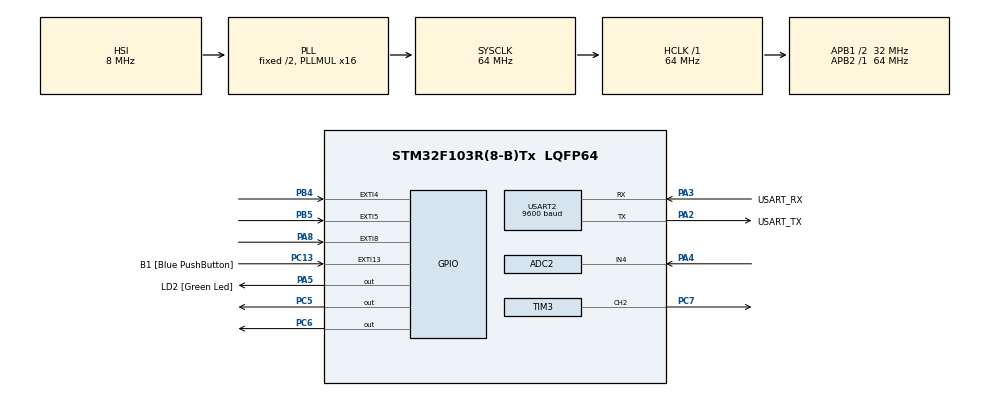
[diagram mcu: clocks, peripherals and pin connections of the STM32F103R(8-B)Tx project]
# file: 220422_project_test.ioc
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ADC2.Channel-0\#ChannelRegularConversion=ADC_CHANNEL_4
ADC2.ContinuousConvMode=ENABLE
ADC2.NbrOfConversionFlag=1
ADC2.Rank-0\#ChannelRegularConversion=1
ADC2.SamplingTime-0\#ChannelRegularConversion=ADC_SAMPLETIME_1CYCLE_5
Mcu.Family=STM32F1
Mcu.Name=STM32F103R(8-B)Tx
Mcu.Package=LQFP64
NVIC.EXTI15_10_IRQn=true\:0\:0\:false\:false\:true\:true\:true\:true
NVIC.EXTI4_IRQn=true\:0\:0\:false\:false\:true\:true\:true\:true
NVIC.EXTI9_5_IRQn=true\:0\:0\:false\:false\:true\:true\:true\:true
NVIC.PriorityGroup=NVIC_PRIORITYGROUP_4
PA13.GPIO_Label=TMS
PA13.Mode=Serial_Wire
PA13.Signal=SYS_JTMS-SWDIO
PA14.GPIO_Label=TCK
PA14.Mode=Serial_Wire
PA14.Signal=SYS_JTCK-SWCLK
PA2.GPIO_Label=USART_TX
PA2.GPIO_Mode=GPIO_MODE_AF_PP
PA2.GPIO_PuPd=GPIO_NOPULL
PA2.GPIO_Speed=GPIO_SPEED_FREQ_LOW
PA2.Mode=Asynchronous
PA2.Signal=USART2_TX
PA3.GPIO_Label=USART_RX
PA3.GPIO_Mode=GPIO_MODE_AF_PP
PA3.GPIO_PuPd=GPIO_NOPULL
PA3.GPIO_Speed=GPIO_SPEED_FREQ_LOW
PA3.Mode=Asynchronous
PA3.Signal=USART2_RX
PA4.Signal=ADCx_IN4
PA5.GPIO_Label=LD2 [Green Led]
PA5.GPIO_ModeDefaultOutputPP=GPIO_MODE_OUTPUT_PP
PA5.GPIO_PuPd=GPIO_NOPULL
PA5.GPIO_Speed=GPIO_SPEED_FREQ_LOW
PA5.Signal=GPIO_Output
PA8.Signal=GPXTI8
PB3.GPIO_Label=SWO
PB3.Signal=SYS_JTDO-TRACESWO
PB4.Signal=GPXTI4
PB5.Signal=GPXTI5
PC13-TAMPER-RTC.GPIO_Label=B1 [Blue PushButton]
PC13-TAMPER-RTC.GPIO_PuPd=GPIO_NOPULL
PC13-TAMPER-RTC.Signal=GPXTI13
PC14-OSC32_IN.Mode=LSE-External-Oscillator
PC14-OSC32_IN.Signal=RCC_OSC32_IN
PC15-OSC32_OUT.Mode=LSE-External-Oscillator
PC15-OSC32_OUT.Signal=RCC_OSC32_OUT
PC5.Signal=GPIO_Output
PC6.Signal=GPIO_Output
PC7.Signal=S_TIM3_CH2
PD0-OSC_IN.Mode=HSE-External-Clock-Source
PD0-OSC_IN.Signal=RCC_OSC_IN
PD1-OSC_OUT.Mode=HSE-External-Clock-Source
PD1-OSC_OUT.Signal=RCC_OSC_OUT
ProjectManager.HeapSize=0x200
ProjectManager.StackSize=0x400
ProjectManager.TargetToolchain=STM32CubeIDE
RCC.ADCPresc=RCC_ADCPCLK2_DIV8
RCC.AHBFreq_Value=64000000
RCC.APB1CLKDivider=RCC_HCLK_DIV2
RCC.APB1Freq_Value=32000000
RCC.APB1TimFreq_Value=64000000
RCC.APB2Freq_Value=64000000
RCC.APB2TimFreq_Value=64000000
RCC.HCLKFreq_Value=64000000
RCC.PLLMUL=RCC_PLL_MUL16
RCC.RTCClockSelection=RCC_RTCCLKSOURCE_LSE
RCC.SYSCLKFreq_VALUE=64000000
RCC.SYSCLKSource=RCC_SYSCLKSOURCE_PLLCLK
RCC.USBFreq_Value=64000000
SH.ADCx_IN4.0=ADC2_IN4,IN4
SH.S_TIM3_CH2.0=TIM3_CH2,PWM Generation2 CH2
TIM3.Channel-PWM\ Generation2\ CH2=TIM_CHANNEL_2
TIM3.Period=20000-1
TIM3.Prescaler=64
USART2.BaudRate=9600
USART2.VirtualMode=VM_ASYNC
board=NUCLEO-F103RB

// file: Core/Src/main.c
/* USER CODE BEGIN Header */
/**
  ******************************************************************************
  * @file           : main.c
  * @brief          : Main program body
  ******************************************************************************
  * @attention
  *
  * Copyright (c) 2022 STMicroelectronics.
  * All rights reserved.
  *
  * This software is licensed under terms that can be found in the LICENSE file
  * in the root directory of this software component.
  * If no LICENSE file comes with this software, it is provided AS-IS.
  *
  ******************************************************************************
  */
/* USER CODE END Header */
#include "main.h"

/* USER CODE BEGIN Includes */
#include "stdio.h"

/* USER CODE END Includes */

 ADC_HandleTypeDef hadc2;

TIM_HandleTypeDef htim3;

UART_HandleTypeDef huart2;

void SystemClock_Config(void);
static void MX_GPIO_Init(void);
static void MX_USART2_UART_Init(void);
static void MX_ADC2_Init(void);
static void MX_TIM3_Init(void);
/* USER CODE BEGIN PFP */
#ifdef __GNUC__
/* With GCC, small printf (option LD Linker->Libraries->Small printf
   set to 'Yes') calls __io_putchar() */
#define PUTCHAR_PROTOTYPE int __io_putchar(int ch)
#else
#define PUTCHAR_PROTOTYPE int fputc(int ch, FILE *f)
#endif /* __GNUC__ */
/* USER CODE BEGIN PFP */

/* USER CODE END PFP */

/* USER CODE BEGIN 0 */
int state[1000] = {0};
int compare = 0;
int idx = 0;
int angle = 0;
/* USER CODE END 0 */

int main(void)
{
  /* USER CODE BEGIN 1 */
	uint32_t adcResult = 0;
  /* USER CODE END 1 */

  /* MCU Configuration--------------------------------------------------------*/

  /* Reset of all peripherals, Initializes the Flash interface and the Systick. */
  HAL_Init();

  /* Configure the system clock */
  SystemClock_Config();

  /* Initialize all configured peripherals */
  MX_GPIO_Init();
  MX_USART2_UART_Init();
  MX_ADC2_Init();
  MX_TIM3_Init();
  /* USER CODE BEGIN 2 */
  HAL_TIM_PWM_Start(&htim3, TIM_CHANNEL_2);
  /* USER CODE END 2 */

  /* Infinite loop */
  /* USER CODE BEGIN WHILE */
  while (1)
  {
	  if(compare ==0){
		  if(state[0] >0){
			  for(int kdx= 0 ; kdx<1000; kdx++){
				  state[kdx] = -1;

			  }
			  idx = 0;
		  }
		  int num1=0;
		  HAL_ADC_Start(&hadc2);
		  HAL_ADC_PollForConversion(&hadc2, 100); // adc값을 받아?��?��까�? ??�??.
		  adcResult = HAL_ADC_GetValue(&hadc2); // 0~4095 // 2048 ~3000?
		  HAL_ADC_Stop(&hadc2);
		  num1=adcResult/2; //0~1024. ?��?�� M3?�� FPU�?? ?��?���??�?? ?��?�� 계산 불�??��. ?��?��?�� �??. Float, Double ?��?���?? ?��?��.
		  if(num1<1024){
			 angle = 1500-(1024-num1);
		  }
		  else{
			 angle = 1500 + num1-1024;
		  }

		htim3.Instance->CCR2 = angle;
		printf("%d\n\r",angle);

	  }

	  else if(compare ==1){
		  int num1=0;
		  HAL_ADC_Start(&hadc2);
		  HAL_ADC_PollForConversion(&hadc2, 100); // adc값을 받아?��?��까�? ??�??.
		  adcResult = HAL_ADC_GetValue(&hadc2); // 0~4095 // 2048 ~3000?
		  HAL_ADC_Stop(&hadc2);
		  num1=adcResult/2; //0~1024. ?��?�� M3?�� FPU�?? ?��?���??�?? ?��?�� 계산 불�??��. ?��?��?�� �??. Float, Double ?��?���?? ?��?��.
		  if(num1<1024){
		  		num1 = 1500-(1024-num1);
		  }
		  else{
		  		num1 = 1500 + num1-1024;
		  }
		  htim3.Instance->CCR2 = num1;
		  printf("store....\n\r\n\r");

		  state[idx++]=num1;
		  if(idx==num1){
			  compare =0;
		  }
		  HAL_Delay(50);
	  }
	  else if(compare ==2){
		  for(int jdx = 0; jdx< idx; jdx++){
			  printf("replay....\n\r\n\r");
			  htim3.Instance->CCR2 = state[jdx];
			  HAL_Delay(50);
		  }
	  }

    /* USER CODE END WHILE */

  }
}

void SystemClock_Config(void)
{
  RCC_OscInitTypeDef RCC_OscInitStruct = {0};
  RCC_ClkInitTypeDef RCC_ClkInitStruct = {0};
  RCC_PeriphCLKInitTypeDef PeriphClkInit = {0};

  /** Initializes the RCC Oscillators according to the specified parameters
  * in the RCC_OscInitTypeDef structure.
  */
  RCC_OscInitStruct.OscillatorType = RCC_OSCILLATORTYPE_HSI;
  RCC_OscInitStruct.HSIState = RCC_HSI_ON;
  RCC_OscInitStruct.HSICalibrationValue = RCC_HSICALIBRATION_DEFAULT;
  RCC_OscInitStruct.PLL.PLLState = RCC_PLL_ON;
  RCC_OscInitStruct.PLL.PLLSource = RCC_PLLSOURCE_HSI_DIV2;
  RCC_OscInitStruct.PLL.PLLMUL = RCC_PLL_MUL16;
  if (HAL_RCC_OscConfig(&RCC_OscInitStruct) != HAL_OK)
  {
    Error_Handler();
  }

  /** Initializes the CPU, AHB and APB buses clocks
  */
  RCC_ClkInitStruct.ClockType = RCC_CLOCKTYPE_HCLK|RCC_CLOCKTYPE_SYSCLK
                              |RCC_CLOCKTYPE_PCLK1|RCC_CLOCKTYPE_PCLK2;
  RCC_ClkInitStruct.SYSCLKSource = RCC_SYSCLKSOURCE_PLLCLK;
  RCC_ClkInitStruct.AHBCLKDivider = RCC_SYSCLK_DIV1;
  RCC_ClkInitStruct.APB1CLKDivider = RCC_HCLK_DIV2;
  RCC_ClkInitStruct.APB2CLKDivider = RCC_HCLK_DIV1;

  if (HAL_RCC_ClockConfig(&RCC_ClkInitStruct, FLASH_LATENCY_2) != HAL_OK)
  {
    Error_Handler();
  }
  PeriphClkInit.PeriphClockSelection = RCC_PERIPHCLK_ADC;
  PeriphClkInit.AdcClockSelection = RCC_ADCPCLK2_DIV8;
  if (HAL_RCCEx_PeriphCLKConfig(&PeriphClkInit) != HAL_OK)
  {
    Error_Handler();
  }
}

static void MX_ADC2_Init(void)
{

  ADC_ChannelConfTypeDef sConfig = {0};

  /** Common config
  */
  hadc2.Instance = ADC2;
  hadc2.Init.ScanConvMode = ADC_SCAN_DISABLE;
  hadc2.Init.ContinuousConvMode = ENABLE;
  hadc2.Init.DiscontinuousConvMode = DISABLE;
  hadc2.Init.ExternalTrigConv = ADC_SOFTWARE_START;
  hadc2.Init.DataAlign = ADC_DATAALIGN_RIGHT;
  hadc2.Init.NbrOfConversion = 1;
  if (HAL_ADC_Init(&hadc2) != HAL_OK)
  {
    Error_Handler();
  }

  /** Configure Regular Channel
  */
  sConfig.Channel = ADC_CHANNEL_4;
  sConfig.Rank = ADC_REGULAR_RANK_1;
  sConfig.SamplingTime = ADC_SAMPLETIME_1CYCLE_5;
  if (HAL_ADC_ConfigChannel(&hadc2, &sConfig) != HAL_OK)
  {
    Error_Handler();
  }

}

static void MX_TIM3_Init(void)
{

  TIM_MasterConfigTypeDef sMasterConfig = {0};
  TIM_OC_InitTypeDef sConfigOC = {0};

  htim3.Instance = TIM3;
  htim3.Init.Prescaler = 64;
  htim3.Init.CounterMode = TIM_COUNTERMODE_UP;
  htim3.Init.Period = 20000-1;
  htim3.Init.ClockDivision = TIM_CLOCKDIVISION_DIV1;
  htim3.Init.AutoReloadPreload = TIM_AUTORELOAD_PRELOAD_DISABLE;
  if (HAL_TIM_PWM_Init(&htim3) != HAL_OK)
  {
    Error_Handler();
  }
  sMasterConfig.MasterOutputTrigger = TIM_TRGO_RESET;
  sMasterConfig.MasterSlaveMode = TIM_MASTERSLAVEMODE_DISABLE;
  if (HAL_TIMEx_MasterConfigSynchronization(&htim3, &sMasterConfig) != HAL_OK)
  {
    Error_Handler();
  }
  sConfigOC.OCMode = TIM_OCMODE_PWM1;
  sConfigOC.Pulse = 0;
  sConfigOC.OCPolarity = TIM_OCPOLARITY_HIGH;
  sConfigOC.OCFastMode = TIM_OCFAST_DISABLE;
  if (HAL_TIM_PWM_ConfigChannel(&htim3, &sConfigOC, TIM_CHANNEL_2) != HAL_OK)
  {
    Error_Handler();
  }
  HAL_TIM_MspPostInit(&htim3);

}

static void MX_USART2_UART_Init(void)
{

  huart2.Instance = USART2;
  huart2.Init.BaudRate = 9600;
  huart2.Init.WordLength = UART_WORDLENGTH_8B;
  huart2.Init.StopBits = UART_STOPBITS_1;
  huart2.Init.Parity = UART_PARITY_NONE;
  huart2.Init.Mode = UART_MODE_TX_RX;
  huart2.Init.HwFlowCtl = UART_HWCONTROL_NONE;
  huart2.Init.OverSampling = UART_OVERSAMPLING_16;
  if (HAL_UART_Init(&huart2) != HAL_OK)
  {
    Error_Handler();
  }

}

static void MX_GPIO_Init(void)
{
  GPIO_InitTypeDef GPIO_InitStruct = {0};

  /* GPIO Ports Clock Enable */
  __HAL_RCC_GPIOC_CLK_ENABLE();
  __HAL_RCC_GPIOD_CLK_ENABLE();
  __HAL_RCC_GPIOA_CLK_ENABLE();
  __HAL_RCC_GPIOB_CLK_ENABLE();

  /*Configure GPIO pin Output Level */
  HAL_GPIO_WritePin(LD2_GPIO_Port, LD2_Pin, GPIO_PIN_RESET);

  /*Configure GPIO pin Output Level */
  HAL_GPIO_WritePin(GPIOC, GPIO_PIN_5|GPIO_PIN_6, GPIO_PIN_RESET);

  /*Configure GPIO pin : B1_Pin */
  GPIO_InitStruct.Pin = B1_Pin;
  GPIO_InitStruct.Mode = GPIO_MODE_IT_RISING;
  GPIO_InitStruct.Pull = GPIO_NOPULL;
  HAL_GPIO_Init(B1_GPIO_Port, &GPIO_InitStruct);

  /*Configure GPIO pin : LD2_Pin */
  GPIO_InitStruct.Pin = LD2_Pin;
  GPIO_InitStruct.Mode = GPIO_MODE_OUTPUT_PP;
  GPIO_InitStruct.Pull = GPIO_NOPULL;
  GPIO_InitStruct.Speed = GPIO_SPEED_FREQ_LOW;
  HAL_GPIO_Init(LD2_GPIO_Port, &GPIO_InitStruct);

  /*Configure GPIO pins : PC5 PC6 */
  GPIO_InitStruct.Pin = GPIO_PIN_5|GPIO_PIN_6;
  GPIO_InitStruct.Mode = GPIO_MODE_OUTPUT_PP;
  GPIO_InitStruct.Pull = GPIO_NOPULL;
  GPIO_InitStruct.Speed = GPIO_SPEED_FREQ_LOW;
  HAL_GPIO_Init(GPIOC, &GPIO_InitStruct);

  /*Configure GPIO pin : PA8 */
  GPIO_InitStruct.Pin = GPIO_PIN_8;
  GPIO_InitStruct.Mode = GPIO_MODE_IT_RISING;
  GPIO_InitStruct.Pull = GPIO_NOPULL;
  HAL_GPIO_Init(GPIOA, &GPIO_InitStruct);

  /*Configure GPIO pins : PB4 PB5 */
  GPIO_InitStruct.Pin = GPIO_PIN_4|GPIO_PIN_5;
  GPIO_InitStruct.Mode = GPIO_MODE_IT_RISING;
  GPIO_InitStruct.Pull = GPIO_NOPULL;
  HAL_GPIO_Init(GPIOB, &GPIO_InitStruct);

  /* EXTI interrupt init*/
  HAL_NVIC_SetPriority(EXTI4_IRQn, 0, 0);
  HAL_NVIC_EnableIRQ(EXTI4_IRQn);

  HAL_NVIC_SetPriority(EXTI9_5_IRQn, 0, 0);
  HAL_NVIC_EnableIRQ(EXTI9_5_IRQn);

  HAL_NVIC_SetPriority(EXTI15_10_IRQn, 0, 0);
  HAL_NVIC_EnableIRQ(EXTI15_10_IRQn);

}

/* USER CODE BEGIN 4 */
PUTCHAR_PROTOTYPE
{
  /* Place your implementation of fputc here */
  /* e.g. write a character to the USART1 and Loop until the end of transmission */
  HAL_UART_Transmit(&huart2,(uint8_t *)&ch, 1, 0xFFFF);

  return ch;
}

void HAL_GPIO_EXTI_Callback(uint16_t GPIO_Pin){

	if(GPIO_Pin == GPIO_PIN_8){
		compare =0;
	}
	if(GPIO_Pin == GPIO_PIN_4){
		compare = 1;
		HAL_GPIO_WritePin(GPIOC,GPIO_PIN_5,GPIO_PIN_SET);
		HAL_GPIO_WritePin(GPIOC,GPIO_PIN_6,GPIO_PIN_RESET);
	}
	if(GPIO_Pin == GPIO_PIN_5){
		compare = 2;
		HAL_GPIO_WritePin(GPIOC,GPIO_PIN_6,GPIO_PIN_SET);
		HAL_GPIO_WritePin(GPIOC,GPIO_PIN_5,GPIO_PIN_RESET);
	}
}
/* USER CODE END 4 */

void Error_Handler(void)
{
  __disable_irq();
  while (1)
  {
  }
}
